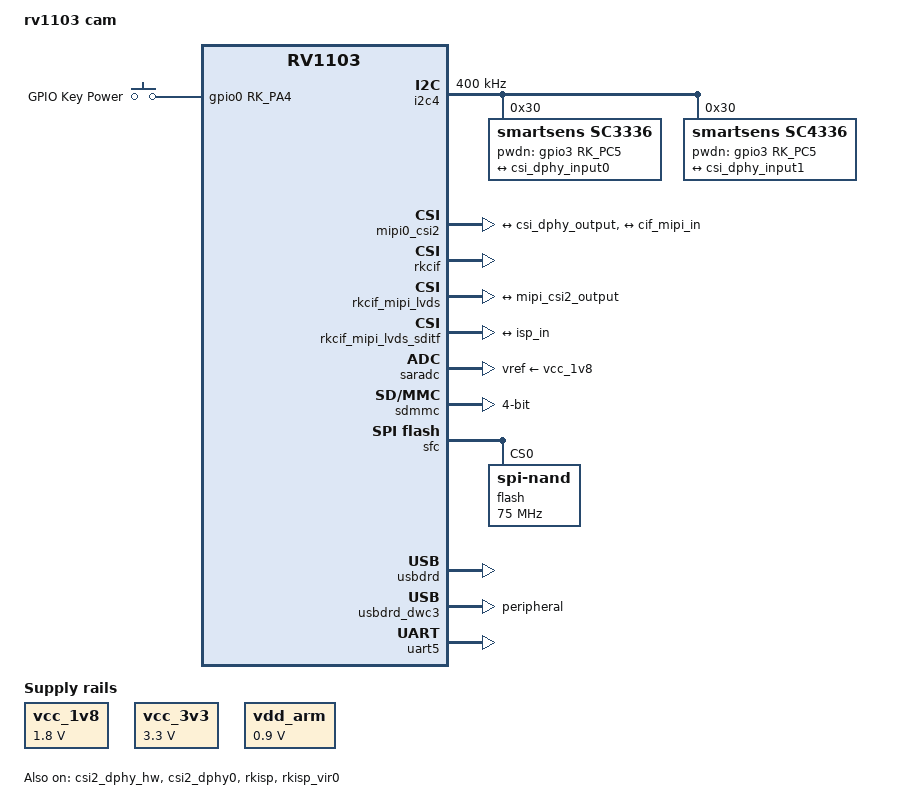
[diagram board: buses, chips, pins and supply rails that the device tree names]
// SPDX-License-Identifier: (GPL-2.0+ OR MIT)
/*
 * Copyright (c) 2022 Rockchip Electronics Co., Ltd.
 */

/dts-v1/;

#include "rv1103.dtsi"
#include "rv1106-evb.dtsi"

/delete-node/ &i2c0;
/delete-node/ &i2c1;
/delete-node/ &i2c2;
/delete-node/ &i2c3;
/delete-node/ &rkcif_dvp;
/delete-node/ &rkcif_dvp_sditf;
/delete-node/ &rkcif_mipi_lvds1;
/delete-node/ &rkcif_mipi_lvds1_sditf;
/delete-node/ &spi0;
/delete-node/ &spi1;
/delete-node/ &uart0;
/delete-node/ &uart1;
/delete-node/ &uart3;
/delete-node/ &uart4;

/ {
	model = "rv1103 cam";
	compatible = "rockchip,rv1103g-38x38-ipc-v10", "rockchip,rv1103";

	chosen {
		bootargs = "earlycon=uart8250,mmio32,0xff4c0000 console=ttyFIQ0 root=/dev/mmcblk1p7 rootwait snd_soc_core.prealloc_buffer_size_kbytes=16 coherent_pool=0";
	};

	aliases {
		/delete-property/ csi2dphy1;
		/delete-property/ csi2dphy2;
		/delete-property/ i2c0;
		/delete-property/ i2c1;
		/delete-property/ i2c2;
		/delete-property/ i2c3;
		/delete-property/ mmc1;
		/delete-property/ rkcif_mipi_lvds1;
		/delete-property/ serial0;
		/delete-property/ serial1;
		/delete-property/ serial3;
		/delete-property/ serial4;

		/delete-property/ spi0;
		/delete-property/ spi1;
		/delete-property/ adc-keys;
	};

	vcc_1v8: vcc-1v8 {
		compatible = "regulator-fixed";
		regulator-name = "vcc_1v8";
		regulator-always-on;
		regulator-boot-on;
		regulator-min-microvolt = <1800000>;
		regulator-max-microvolt = <1800000>;
	};

	vcc_3v3: vcc-3v3 {
		compatible = "regulator-fixed";
		regulator-name = "vcc_3v3";
		regulator-always-on;
		regulator-boot-on;
		regulator-min-microvolt = <3300000>;
		regulator-max-microvolt = <3300000>;
	};

	vdd_arm: vdd-arm {
		compatible = "regulator-fixed";
		regulator-name = "vdd_arm";
		regulator-min-microvolt = <900000>;
		regulator-max-microvolt = <900000>;
		regulator-always-on;
		regulator-boot-on;
	};

	gpio-keys {
		compatible = "gpio-keys";
		pinctrl-names = "default";
		pinctrl-0 = <&pwr_key>;
		power-key {
			gpios = <&gpio0 RK_PA4 GPIO_ACTIVE_HIGH>;
			linux,code = <KEY_POWER>;
			label ="GPIO Key Power";
			debounce-interval = <100>;
			wakeup-source;
			/* gpio-key,wakeup; */
		};
	};

};

&fiq_debugger {
	rockchip,baudrate = <1500000>;
	pinctrl-names = "default";
	pinctrl-0 = <&uart2m1_xfer>;
};

&pinctrl {
	buttons {
		pwr_key:pwr-key {
			rockchip,pins = <0 RK_PA4 RK_FUNC_GPIO &pcfg_pull_up>;
		};
	};
};

&rockchip_suspend {
	status = "okay";
	rockchip,sleep-io-config = <
		(0
		| RKPM_IO_CFG_IOMUX_GPIO
		| RKPM_IO_CFG_GPIO_DIR_INPUT
		| RKPM_IO_CFG_PULL_DOWN
		| RKPM_IO_CFG_ID(0)
		)
		(0
		| RKPM_IO_CFG_IOMUX_GPIO
		| RKPM_IO_CFG_GPIO_DIR_INPUT
		| RKPM_IO_CFG_PULL_DOWN
		| RKPM_IO_CFG_ID(1)
		)
		(0
		| RKPM_IO_CFG_IOMUX_GPIO
		| RKPM_IO_CFG_GPIO_DIR_INPUT
		| RKPM_IO_CFG_PULL_DOWN
		| RKPM_IO_CFG_ID(2)
		)
		(0
		| RKPM_IO_CFG_IOMUX_GPIO
		| RKPM_IO_CFG_GPIO_DIR_INPUT
		| RKPM_IO_CFG_PULL_DOWN
		| RKPM_IO_CFG_ID(3)
		)
		(0
		| RKPM_IO_CFG_IOMUX_GPIO
		| RKPM_IO_CFG_GPIO_DIR_INPUT
		| RKPM_IO_CFG_PULL_UP
		| RKPM_IO_CFG_ID(4)
		)
		(0
		| RKPM_IO_CFG_IOMUX_GPIO
		| RKPM_IO_CFG_GPIO_DIR_INPUT
		| RKPM_IO_CFG_PULL_DOWN
		| RKPM_IO_CFG_ID(5)
		)
		(0
		| RKPM_IO_CFG_IOMUX_GPIO
		| RKPM_IO_CFG_GPIO_DIR_INPUT
		| RKPM_IO_CFG_PULL_DOWN
		| RKPM_IO_CFG_ID(6)
		)
	>;
};



&cpu0 {
	cpu-supply = <&vdd_arm>;
};

&cpu0 {
	/delete-property/ clocks;
	/delete-property/ operating-points-v2;
};

&csi2_dphy_hw {
	status = "okay";
};

&csi2_dphy0 {
	status = "okay";

	ports {
		#address-cells = <1>;
		#size-cells = <0>;

		port@0 {
			reg = <0>;
			#address-cells = <1>;
			#size-cells = <0>;

			csi_dphy_input0: endpoint@0 {
				reg = <0>;
				remote-endpoint = <&sc3336_out>;
				data-lanes = <1 2>;
			};

			csi_dphy_input1: endpoint@1 {
				reg = <1>;
				remote-endpoint = <&sc4336_out>;
				data-lanes = <1 2>;
			};
		};

		port@1 {
			reg = <1>;
			#address-cells = <1>;
			#size-cells = <0>;

			csi_dphy_output: endpoint@0 {
				reg = <0>;
				remote-endpoint = <&mipi_csi2_input>;
			};
		};
	};
};

&i2c4 {
	status = "okay";
	clock-frequency = <400000>;
	pinctrl-names = "default";
	pinctrl-0 = <&i2c4m2_xfer>;

	sc3336: sc3336@30 {
		compatible = "smartsens,sc3336";
		status = "okay";
		reg = <0x30>;
		clocks = <&cru MCLK_REF_MIPI0>;
		clock-names = "xvclk";
		pwdn-gpios = <&gpio3 RK_PC5 GPIO_ACTIVE_HIGH>;
		pinctrl-names = "default";
		pinctrl-0 = <&mipi_refclk_out0>;
		rockchip,camera-module-index = <0>;
		rockchip,camera-module-facing = "back";
		rockchip,camera-module-name = "CMK-OT2119-PC1";
		rockchip,camera-module-lens-name = "30IRC-F16";
		port {
			sc3336_out: endpoint {
				remote-endpoint = <&csi_dphy_input0>;
				data-lanes = <1 2>;
			};
		};
	};

	sc4336: sc4336@30 {
		compatible = "smartsens,sc4336";
		status = "okay";
		reg = <0x30>;
		clocks = <&cru MCLK_REF_MIPI0>;
		clock-names = "xvclk";
		pwdn-gpios = <&gpio3 RK_PC5 GPIO_ACTIVE_HIGH>;
		pinctrl-names = "default";
		pinctrl-0 = <&mipi_refclk_out0>;
		rockchip,camera-module-index = <0>;
		rockchip,camera-module-facing = "back";
		rockchip,camera-module-name = "OT01";
		rockchip,camera-module-lens-name = "40IRC_F16";
		port {
			sc4336_out: endpoint {
				remote-endpoint = <&csi_dphy_input1>;
				data-lanes = <1 2>;
			};
		};
	};
};

&i2s0_8ch {
	#sound-dai-cells = <0>;
	status = "disabled";
};

&mipi0_csi2 {
	status = "okay";

	ports {
		#address-cells = <1>;
		#size-cells = <0>;

		port@0 {
			reg = <0>;
			#address-cells = <1>;
			#size-cells = <0>;

			mipi_csi2_input: endpoint@1 {
				reg = <1>;
				remote-endpoint = <&csi_dphy_output>;
			};
		};

		port@1 {
			reg = <1>;
			#address-cells = <1>;
			#size-cells = <0>;

			mipi_csi2_output: endpoint@0 {
				reg = <0>;
				remote-endpoint = <&cif_mipi_in>;
			};
		};
	};
};

&rkcif {
	status = "okay";
};

&rkcif_mipi_lvds {
	status = "okay";
	aov-reserved;
	pinctrl-names = "default";
	pinctrl-0 = <&mipi_pins>;
	port {
		/* MIPI CSI-2 endpoint */
		cif_mipi_in: endpoint {
			remote-endpoint = <&mipi_csi2_output>;
		};
	};
};

&rkcif_mipi_lvds_sditf {
	status = "okay";

	port {
		/* MIPI CSI-2 endpoint */
		mipi_lvds_sditf: endpoint {
			remote-endpoint = <&isp_in>;
		};
	};
};

&rkisp {
	status = "okay";
};

&rkisp_vir0 {
	status = "okay";

	port@0 {
		isp_in: endpoint {
			remote-endpoint = <&mipi_lvds_sditf>;
		};
	};
};

&saradc {
	status = "okay";
	vref-supply = <&vcc_1v8>;
};

&sdmmc {
    max-frequency = <50000000>;
    no-sdio;
    no-mmc;
    bus-width = <4>;
    cap-mmc-highspeed;
    cap-sd-highspeed;
    disable-wp;
    pinctrl-names = "default";
    pinctrl-0 = <&sdmmc0_clk &sdmmc0_cmd &sdmmc0_det &sdmmc0_bus4>;
    status = "okay";
};

&sfc {
	status = "okay";

	flash@0 {
		compatible = "spi-nand";
		reg = <0>;
		spi-max-frequency = <75000000>;
		spi-rx-bus-width = <4>;
		spi-tx-bus-width = <1>;
	};
};

&usbdrd {
	status = "okay";
};

&usbdrd_dwc3 {
    extcon = <&u2phy>;
	status = "okay";
	dr_mode = "peripheral";
};


&uart5 {
	status = "okay";
	pinctrl-names = "default";
	pinctrl-0 = <&uart5m1_xfer>;
};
